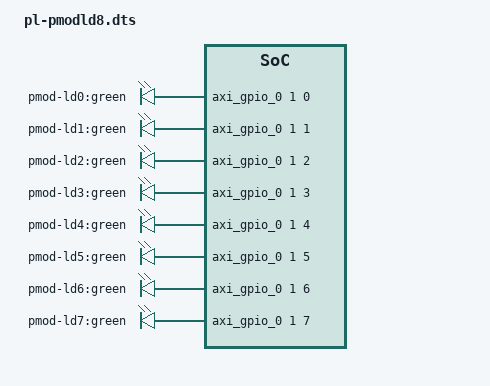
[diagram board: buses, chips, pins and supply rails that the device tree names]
/* Overlay devicetree PMODLD8 (adds LEDs to PMOD) */
/dts-v1/;
/plugin/;
  
/ {
	fragment@0 {
		/* LEDs connected to GPIO controller that controls PMOD1/2 */
		target-path = "/";
		__overlay__ {
			leds-pmod {
				compatible = "gpio-leds";
				pmod-ld0 {
					label = "pmod-ld0:green";
					gpios = <&axi_gpio_0 1 0 0>;
				};
				pmod-ld1 {
					label = "pmod-ld1:green";
					gpios = <&axi_gpio_0 1 1 0>;
				};
				pmod-ld2 {
					label = "pmod-ld2:green";
					gpios = <&axi_gpio_0 1 2 0>;
				};
				pmod-ld3 {
					label = "pmod-ld3:green";
					gpios = <&axi_gpio_0 1 3 0>;
				};
				pmod-ld4 {
					label = "pmod-ld4:green";
					gpios = <&axi_gpio_0 1 4 0>;
				};
				pmod-ld5 {
					label = "pmod-ld5:green";
					gpios = <&axi_gpio_0 1 5 0>;
				};
				pmod-ld6 {
					label = "pmod-ld6:green";
					gpios = <&axi_gpio_0 1 6 0>;
				};
				pmod-ld7 {
					label = "pmod-ld7:green";
					gpios = <&axi_gpio_0 1 7 0>;
				};
			};
		};
	};
};
